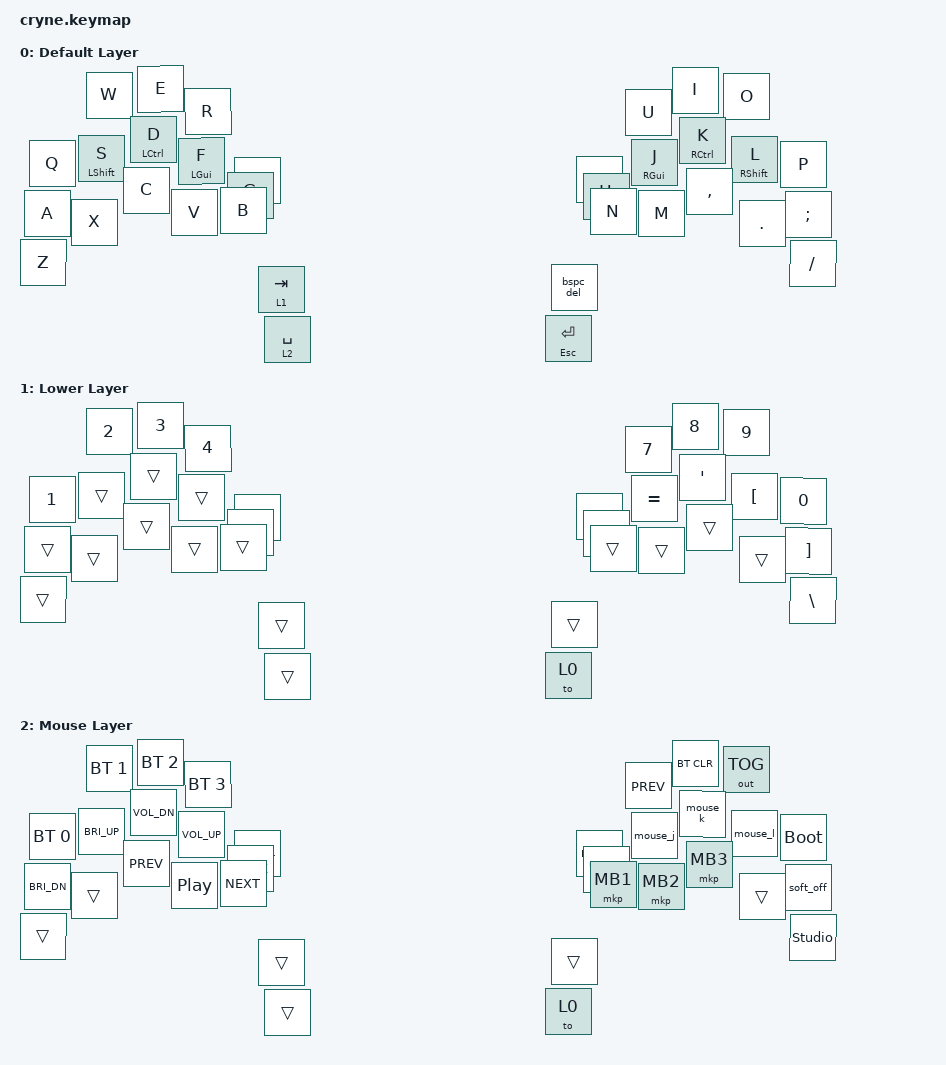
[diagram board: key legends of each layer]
/*
* Copyright (c) 2020 The ZMK Contributors
*
* SPDX-License-Identifier: MIT
*/

#define ZMK_POINTING_DEFAULT_MOVE_VAL 1100  // default: 600
#define ZMK_POINTING_DEFAULT_SCRL_VAL 20    // default: 10

#define TAPPING_TERM_TAP_DANCE 200
#define TAPPING_TERM_HRM 310
#define TAPPING_TERM_MOD_TAP 260
#define REQUIRE_PRIOR_IDLE_MS 150
#define QUICK_TAP_MS 175
#define COMBO_TIMEOUT_MS 50

#include <behaviors.dtsi>
#include <dt-bindings/zmk/keys.h>
#include <dt-bindings/zmk/bt.h>
#include <dt-bindings/zmk/outputs.h>
#include <dt-bindings/zmk/pointing.h>

// #define MO_TOG(layer) &mo_tog layer layer;
// #define TD_C(key, mod) &td_c <&mt mod key>, <&sk mod>;

/ {
    behaviors {
        bspc_del: backspace_delete {
            compatible = "zmk,behavior-mod-morph";
            #binding-cells = <0>;
            bindings = <&kp BACKSPACE>, <&kp DELETE>;

            mods = <(MOD_LSFT|MOD_RSFT)>;

            // Keeps mod dosn't remove the mod after the morph
            // keep-mods = <(MOD_RSFT)>;
        };

        //Mouse
        mouse_h: mouse_left_scroll {
            compatible = "zmk,behavior-mod-morph";
            #binding-cells = <0>;
            bindings = <&mmv MOVE_LEFT>, <&msc SCRL_LEFT>;

            mods = <(MOD_LSFT|MOD_RSFT)>;
        };
        mouse_j: mouse_down_scroll {
            compatible = "zmk,behavior-mod-morph";
            #binding-cells = <0>;
            bindings = <&mmv MOVE_DOWN>, <&msc SCRL_DOWN>;

            mods = <(MOD_LSFT|MOD_RSFT)>;
        };
        mouse_k: mouse_up_scroll {
            compatible = "zmk,behavior-mod-morph";
            #binding-cells = <0>;
            bindings = <&mmv MOVE_UP>, <&msc SCRL_UP>;

            mods = <(MOD_LSFT|MOD_RSFT)>;
        };
        mouse_l: mouse_right_scroll {
            compatible = "zmk,behavior-mod-morph";
            #binding-cells = <0>;
            bindings = <&mmv MOVE_RIGHT>, <&msc SCRL_RIGHT>;

            mods = <(MOD_LSFT|MOD_RSFT)>;
        };

        //Layers
        td_layer1: tap_dance_layer1 {
            compatible = "zmk,behavior-tap-dance";
            #binding-cells = <0>;
            tapping-term-ms = <TAPPING_TERM_TAP_DANCE>;
            bindings = <&mo 1>, <&to 1>;
        };
        td_layer2: tap_dance_layer2 {
            compatible = "zmk,behavior-tap-dance";
            #binding-cells = <0>;
            tapping-term-ms = <TAPPING_TERM_TAP_DANCE>;
            bindings = <&mo 2>, <&to 2>;
        };
        td_layer3: tap_dance_layer3 {
            compatible = "zmk,behavior-tap-dance";
            #binding-cells = <0>;
            tapping-term-ms = <TAPPING_TERM_TAP_DANCE>;
            bindings = <&mo 2>, <&to 3>;
        };

        // Home Row Mods
        hml: home_row_mod_left {
            compatible = "zmk,behavior-hold-tap";
            #binding-cells = <2>;
            flavor = "balanced";
            require-prior-idle-ms = <REQUIRE_PRIOR_IDLE_MS>;
            tapping-term-ms = <TAPPING_TERM_HRM>;
            quick-tap-ms = <QUICK_TAP_MS>;
            bindings = <&kp>, <&kp>;

            hold-trigger-key-positions = <5 6 7 8 9 15 16 17 18 19 25 26 27 28 29 32 33>; // Right side keys + right thumb keys
            hold-trigger-on-release;
        };
        hmr: home_row_mod_right {
            compatible = "zmk,behavior-hold-tap";
            #binding-cells = <2>;
            flavor = "balanced";
            require-prior-idle-ms = <REQUIRE_PRIOR_IDLE_MS>;
            tapping-term-ms = <TAPPING_TERM_HRM>;
            quick-tap-ms = <QUICK_TAP_MS>;
            bindings = <&kp>, <&kp>;

            hold-trigger-key-positions = <0 1 2 3 4 10 11 12 13 14 20 21 22 23 24 30 31>; // Left side keys + left thumb keys
            hold-trigger-on-release;
        };

        // Thumb hold-taps
        spc_lwr: space_lower {
            compatible = "zmk,behavior-hold-tap";
            #binding-cells = <2>;
            flavor = "hold-preferred";
            require-prior-idle-ms = <REQUIRE_PRIOR_IDLE_MS>;
            tapping-term-ms = <TAPPING_TERM_TAP_DANCE>;
            bindings = <&mo>, <&kp>;
        };

        ret_esc: ret_esc {
            compatible = "zmk,behavior-hold-tap";
            #binding-cells = <2>;
            flavor = "hold-preferred";
            tapping-term-ms = <TAPPING_TERM_TAP_DANCE>;
            bindings = <&kp>, <&kp>;
        };

        tab_raise: tab_raise {
            compatible = "zmk,behavior-hold-tap";
            #binding-cells = <2>;
            flavor = "hold-preferred";
            tapping-term-ms = <TAPPING_TERM_TAP_DANCE>;
            bindings = <&mo>, <&kp>;
        };

        // Toggle layer
        mo_tog: behavior_mo_tog {
            compatible = "zmk,behavior-hold-tap";
            #binding-cells = <2>;
            flavor = "hold-preferred";
            tapping-term-ms = <TAPPING_TERM_TAP_DANCE>;
            bindings = <&mo>, <&tog>;
        };

        mt: mod_tap {
            compatible = "zmk,behavior-hold-tap";
            #binding-cells = <2>;
            flavor = "balanced";
            tapping-term-ms = <TAPPING_TERM_MOD_TAP>;
            bindings = <&kp>, <&kp>;

            display-name = "Mod-Tap";
        };

        td_c: tap_dance_c {
            compatible = "zmk,behavior-tap-dance";
            #binding-cells = <0>;
            tapping-term-ms = <TAPPING_TERM_TAP_DANCE>;
            bindings = <&kt>, <&sk>;
        };

        spc_under: space_underscore {
            compatible = "zmk,behavior-mod-morph";
            #binding-cells = <0>;
            bindings = <&kp SPACE>, <&kp UNDERSCORE>;
            mods = <(MOD_LSFT|MOD_RSFT)>;
        };

        // Navigation mod-morphs (lower layer): arrow / shift=extended nav
        left_home: left_home {
            compatible = "zmk,behavior-mod-morph";
            #binding-cells = <0>;
            bindings = <&kp LEFT>, <&kp HOME>;
            mods = <(MOD_LSFT|MOD_RSFT)>;
        };
        down_pgdn: down_page_down {
            compatible = "zmk,behavior-mod-morph";
            #binding-cells = <0>;
            bindings = <&kp DOWN>, <&kp PAGE_DOWN>;
            mods = <(MOD_LSFT|MOD_RSFT)>;
        };
        up_pgup: up_page_up {
            compatible = "zmk,behavior-mod-morph";
            #binding-cells = <0>;
            bindings = <&kp UP>, <&kp PAGE_UP>;
            mods = <(MOD_LSFT|MOD_RSFT)>;
        };
        right_end: right_end {
            compatible = "zmk,behavior-mod-morph";
            #binding-cells = <0>;
            bindings = <&kp RIGHT>, <&kp END>;
            mods = <(MOD_LSFT|MOD_RSFT)>;
        };
    };

    combos {
        compatible = "zmk,combos";

        // Home row combos (Vim style arrows): H-J-K-L
        combo_left {
            timeout-ms = <COMBO_TIMEOUT_MS>;
            key-positions = <15 16>; // H + J
            bindings = <&kp LEFT>;
            require-prior-idle-ms = <REQUIRE_PRIOR_IDLE_MS>;
            layers = <0>;
        };
        combo_up {
            timeout-ms = <COMBO_TIMEOUT_MS>;
            key-positions = <16 17>; // J + K
            bindings = <&kp UP>;
            require-prior-idle-ms = <REQUIRE_PRIOR_IDLE_MS>;
            layers = <0>;
        };
        combo_down {
            timeout-ms = <COMBO_TIMEOUT_MS>;
            key-positions = <17 18>; // K + L
            bindings = <&kp DOWN>;
            require-prior-idle-ms = <REQUIRE_PRIOR_IDLE_MS>;
            layers = <0>;
        };
        combo_right {
            timeout-ms = <COMBO_TIMEOUT_MS>;
            key-positions = <18 19>; // L + ;
            bindings = <&kp RIGHT>;
            require-prior-idle-ms = <REQUIRE_PRIOR_IDLE_MS>;
            layers = <0>;
        };

        // Bottom row combos (navigation): N-M-,-.
        combo_home {
            timeout-ms = <COMBO_TIMEOUT_MS>;
            key-positions = <25 26>; // N + M
            bindings = <&kp HOME>;
            require-prior-idle-ms = <REQUIRE_PRIOR_IDLE_MS>;
            layers = <0>;
        };
        combo_pgup {
            timeout-ms = <COMBO_TIMEOUT_MS>;
            key-positions = <26 27>; // M + ,
            bindings = <&kp PG_UP>;
            require-prior-idle-ms = <REQUIRE_PRIOR_IDLE_MS>;
            layers = <0>;
        };
        combo_pgdw {
            timeout-ms = <COMBO_TIMEOUT_MS>;
            key-positions = <27 28>; // , + .
            bindings = <&kp PAGE_DOWN>;
            require-prior-idle-ms = <REQUIRE_PRIOR_IDLE_MS>;
            layers = <0>;
        };
        combo_end {
            timeout-ms = <COMBO_TIMEOUT_MS>;
            key-positions = <28 29>; // . + /
            bindings = <&kp END>;
            require-prior-idle-ms = <REQUIRE_PRIOR_IDLE_MS>;
            layers = <0>;
        };

        // Top row combos for common keys
        combo_backspace {
            timeout-ms = <COMBO_TIMEOUT_MS>;
            key-positions = <6 7>; // U + I
            bindings = <&kp BACKSPACE>;
            require-prior-idle-ms = <REQUIRE_PRIOR_IDLE_MS>;
            layers = <0>;
        };
        combo_delete {
            timeout-ms = <COMBO_TIMEOUT_MS>;
            key-positions = <7 8>; // I + O
            bindings = <&kp DELETE>;
            require-prior-idle-ms = <REQUIRE_PRIOR_IDLE_MS>;
            layers = <0>;
        };
        combo_esc {
            timeout-ms = <COMBO_TIMEOUT_MS>;
            key-positions = <2 3>; // W + E
            bindings = <&kp ESCAPE>;
            require-prior-idle-ms = <REQUIRE_PRIOR_IDLE_MS>;
            layers = <0>;
        };
        combo_tab {
            timeout-ms = <COMBO_TIMEOUT_MS>;
            key-positions = <3 4>; // E + R
            bindings = <&kp TAB>;
            require-prior-idle-ms = <REQUIRE_PRIOR_IDLE_MS>;
            layers = <0>;
        };

        // Home row utility combos (left hand)
        combo_repeat {
            timeout-ms = <COMBO_TIMEOUT_MS>;
            key-positions = <12 13>; // D + F
            bindings = <&key_repeat>;
            require-prior-idle-ms = <REQUIRE_PRIOR_IDLE_MS>;
            layers = <0>;
        };
        combo_caps_word {
            timeout-ms = <COMBO_TIMEOUT_MS>;
            key-positions = <11 12>; // S + D
            bindings = <&caps_word>;
            require-prior-idle-ms = <REQUIRE_PRIOR_IDLE_MS>;
            layers = <0>;
        };
        combo_undo {
            timeout-ms = <COMBO_TIMEOUT_MS>;
            key-positions = <21 22>; // X + C
            bindings = <&kp LC(Z)>;
            require-prior-idle-ms = <REQUIRE_PRIOR_IDLE_MS>;
            layers = <0>;
        };
        combo_mouse_layer {
            timeout-ms = <COMBO_TIMEOUT_MS>;
            key-positions = <13 14>; // F + G
            bindings = <&tog 3>;
            require-prior-idle-ms = <REQUIRE_PRIOR_IDLE_MS>;
            layers = <0 3>;
        };
    };

    keymap {
        compatible = "zmk,keymap";

        default_layer {
            display-name = "Default Layer";

            // ----------------------------------------------------------------
            // |  Q  |  W  |  E  |  R  |  T  | |  Y  |  U  |  I  |  O  |  P  |
            // |  A  | S/⇧ | D/⎈ | F/⊞ | G/⎇ | | H/⎇ | J/⊞ | K/⎈ | L/⇧ |  ;  |
            // |  Z  |  X  |  C  |  V  |  B  | |  N  |  M  |  ,  |  .  |  /  |
            //                   | TAB | SPC | | RET | BSPC|

            bindings = <
&kp Q &kp W         &kp E        &kp R       &kp T       /**/ &kp Y       &kp U       &kp I        &kp O         &kp P
&kp A &hml LSHIFT S &hml LCTRL D &hml LGUI F &hml LALT G /**/ &hmr RALT H &hmr RGUI J &hmr RCTRL K &hmr RSHIFT L &kp SEMI
&kp Z &kp X         &kp C        &kp V       &kp B       /**/ &kp N       &kp M       &kp COMMA    &kp DOT       &kp FSLH
                                 &spc_lwr 1 TAB &tab_raise 2 SPACE /**/ &ret_esc ESC RET &bspc_del
            >;
        };

        lower_layer {
            display-name = "Lower Layer";
            // -----------------------------------------------------------------
            // |  1  |  2  |  3  |  4  |  5  | |  6  |  7  |  8  |  9  |  0  |
            // |     |     |     |     |     | |  -  |  =  |  '  |  [  |  ]  |
            // |     |     |     |     |     | |     |     |     |     |  \  |
            //                   |     |     | | TO0 |     |
            bindings = <
&kp N1  &kp N2 &kp N3 &kp N4 &kp N5 /**/ &kp N6     &kp N7     &kp N8   &kp N9     &kp N0
&trans  &trans &trans &trans &trans /**/ &kp MINUS &kp EQUAL &kp APOS  &kp LBKT &kp RBKT
&trans  &trans &trans &trans &trans /**/ &trans    &trans    &trans    &trans   &kp BSLH
                      &trans &trans /**/ &to 0     &trans
            >;
        };

        mouse_layer {
            display-name = "Mouse Layer";

            // ---------------------------------------------------------------
            // | BT1 | BT2 | BT3 | BT4 | BT5 | | BTN | PRV | CLR | OUT | BOOT|
            // | BDN | BUP | VDN | VUP | MUT | | MS← | MS↓ | MS↑ | MS→ | SOFF|
            // |     |     | PRV | PLY | NXT | | MB1 | MB2 | MB3 |     | STUD|
            //                   |     |     | | TO0 |     |

            bindings = <
&bt BT_SEL 0 &bt BT_SEL 1 &bt BT_SEL 2 &bt BT_SEL 3 &bt BT_SEL 4 /**/ &bt BT_NXT &kp C_PREV &bt BT_CLR &out OUT_TOG &bootloader
&kp C_BRI_DN &kp C_BRI_UP &kp C_VOL_DN &kp C_VOL_UP &kp C_MUTE   /**/ &mouse_h   &mouse_j   &mouse_k   &mouse_l     &soft_off
&trans       &trans       &kp C_PREV   &kp C_PP     &kp C_NEXT   /**/ &mkp MB1   &mkp MB2   &mkp MB3   &trans       &studio_unlock
                                       &trans       &trans       /**/ &to 0      &trans
            >;
        };
    };
};
